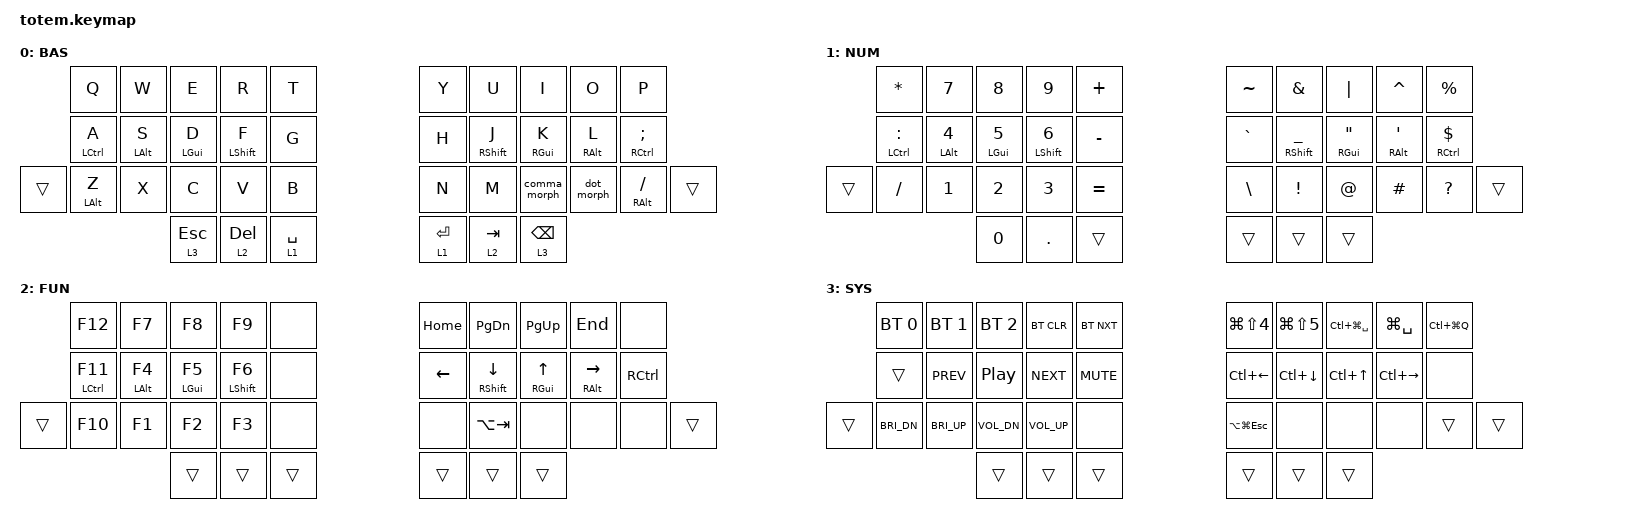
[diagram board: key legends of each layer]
/*
 * Copyright (c) 2020 The ZMK Contributors
 *
 * SPDX-License-Identifier: MIT
 */

#include <dt-bindings/zmk/reset.h>

#define ZMK_POINTING_DEFAULT_SCRL_VAL 20    // default: 10

#include <behaviors.dtsi>
#include <dt-bindings/zmk/bt.h>
#include <dt-bindings/zmk/keys.h>

/ {
    behaviors {
        // timeless home-row mods (urob): hold only when the next key is on the other hand

        hml: hml {
            compatible = "zmk,behavior-hold-tap";
            #binding-cells = <2>;
            flavor = "balanced";
            tapping-term-ms = <170>;
            quick-tap-ms = <175>;
            require-prior-idle-ms = <150>;
            bindings = <&kp>, <&kp>;

            hold-trigger-key-positions = <5 6 7 8 9 15 16 17 18 19 26 27 28 29 30 31 32 33 34 35 36 37>;
            hold-trigger-on-release;
        };

        hmr: hmr {
            compatible = "zmk,behavior-hold-tap";
            #binding-cells = <2>;
            flavor = "balanced";
            tapping-term-ms = <170>;
            quick-tap-ms = <175>;
            require-prior-idle-ms = <150>;
            bindings = <&kp>, <&kp>;

            hold-trigger-key-positions = <0 1 2 3 4 10 11 12 13 14 20 21 22 23 24 25 32 33 34 35 36 37>;
            hold-trigger-on-release;
        };

        // tap: (   shift+tap: <

        lpar_lt: lpar_lt {
            compatible = "zmk,behavior-mod-morph";
            #binding-cells = <0>;
            bindings = <&kp LPAR>, <&kp LT>;

            mods = <(MOD_LSFT|MOD_RSFT)>;
        };

        // tap: )   shift+tap: >

        rpar_gt: rpar_gt {
            compatible = "zmk,behavior-mod-morph";
            #binding-cells = <0>;
            bindings = <&kp RPAR>, <&kp GT>;

            mods = <(MOD_LSFT|MOD_RSFT)>;
        };

        // tap: ,   shift+tap: ;

        comma_morph: comma_morph {
            compatible = "zmk,behavior-mod-morph";
            #binding-cells = <0>;
            bindings = <&kp COMMA>, <&kp SEMICOLON>;

            mods = <(MOD_LSFT|MOD_RSFT)>;
        };

        // tap: .   shift+tap: :

        dot_morph: dot_morph {
            compatible = "zmk,behavior-mod-morph";
            #binding-cells = <0>;
            bindings = <&kp DOT>, <&kp COLON>;

            mods = <(MOD_LSFT|MOD_RSFT)>;
        };
    };

    combos {
        compatible = "zmk,combos";

        escape {
            bindings = <&kp ESCAPE>;
            key-positions = <3 4>;
        };

        caps {
            bindings = <&caps_word>;
            key-positions = <14 15>;
        };

        apostroph {
            bindings = <&kp APOSTROPHE>;
            key-positions = <5 6>;
        };

        wispr {
            bindings = <&wispr>;
            key-positions = <9 6>;
        };

        copy {
            bindings = <&copy>;
            key-positions = <22 23>;
        };

        paste {
            bindings = <&paste>;
            key-positions = <23 24>;
        };

        left_bracket {
            bindings = <&kp LEFT_BRACKET>;
            key-positions = <27 28>;
        };

        right_bracket {
            bindings = <&kp RIGHT_BRACKET>;
            key-positions = <28 29>;
        };

        l_parenthesis {
            bindings = <&lpar_lt>;
            key-positions = <16 17>;
        };

        r_parenthesis {
            bindings = <&rpar_gt>;
            key-positions = <17 18>;
        };

        tab {
            bindings = <&kp TAB>;
            key-positions = <11 12>;
        };

        backspace {
            bindings = <&kp BACKSPACE>;
            key-positions = <26 27>;
        };

        delete {
            bindings = <&kp DELETE>;
            key-positions = <15 16>;
        };

        cut {
            bindings = <&cut>;
            key-positions = <24 22>;
        };

        undo {
            bindings = <&undo>;
            key-positions = <22 21>;
        };

        // both NUM thumbs together: toggle NUM on/off

        num_toggle {
            bindings = <&tog 1>;
            key-positions = <34 35>;
        };

        redo {
            bindings = <&redo>;
            key-positions = <24 25>;
        };

        enter {
            bindings = <&kp ENTER>;
            key-positions = <13 14>;
        };
    };

    macros {
        wispr: wispr {
            compatible = "zmk,behavior-macro";
            #binding-cells = <0>;
            bindings = <&kp LS(LA(NUMBER_1))>;
            label = "WISPR";
        };

        undo: undo {
            compatible = "zmk,behavior-macro";
            #binding-cells = <0>;
            bindings = <&none &kp LG(Z)>;
            label = "UNDO";
        };

        cut: cut {
            compatible = "zmk,behavior-macro";
            #binding-cells = <0>;
            bindings = <&none &kp LG(X)>;
            label = "CUT";
        };

        redo: redo {
            compatible = "zmk,behavior-macro";
            #binding-cells = <0>;
            bindings = <&none &kp LG(LS(Z))>;
            label = "REDO";
        };

        copy: copy {
            compatible = "zmk,behavior-macro";
            #binding-cells = <0>;
            bindings = <&none &kp LG(C)>;
            label = "COPY";
        };

        paste: paste {
            compatible = "zmk,behavior-macro";
            #binding-cells = <0>;
            bindings = <&none &kp LG(V)>;
            label = "PASTE";
        };
    };

    keymap {
        compatible = "zmk,keymap";

        default_layer {
            display-name = "BAS";

            // -----------------------------------------------------------------------------------------
            // |  TAB |  Q  |  W  |  E  |  R  |  T  |   |  Y  |  U   |  I  |  O  |  P  | BKSP |
            // | CTRL |  A  |  S  |  D  |  F  |  G  |   |  H  |  J   |  K  |  L  |  ;  |  '   |
            // | SHFT |  Z  |  X  |  C  |  V  |  B  |   |  N  |  M   |  ,  |  .  |  /  | ESC  |
            //                    | GUI | LWR | SPC |   | ENT | RSE  | ALT |

            bindings = <
        &kp Q         &kp W        &kp E         &kp R          &kp T          &kp Y        &kp U          &kp I            &kp O        &kp P
        &hml LCTRL A  &hml LALT S  &hml LGUI D   &hml LSHIFT F  &kp G          &kp H        &hmr RSHIFT J  &hmr RGUI K      &hmr RALT L  &hmr RCTRL SEMI
&trans  &hml LALT Z   &kp X        &kp C         &kp V          &kp B          &kp N        &kp M          &comma_morph     &dot_morph   &hmr RALT FSLH   &trans
                                   &lt 3 ESCAPE  &lt 2 DELETE   &lt 1 SPACE    &lt 1 ENTER  &lt 2 TAB      &lt 3 BACKSPACE
            >;
        };

        NUM {
            display-name = "NUM";

            // -----------------------------------------------------------------------------------------
            // |  TAB |  1  |  2  |  3  |  4  |  5  |   |  6  |  7  |  8  |  9  |  0  | BKSP |
            // | BTCLR| BT1 | BT2 | BT3 | BT4 | BT5 |   | LFT | DWN |  UP | RGT |     |      |
            // | SHFT |     |     |     |     |     |   |     |     |     |     |     |      |
            //                    | GUI |     | SPC |   | ENT |     | ALT |

            bindings = <
        &kp ASTERISK      &kp NUMBER_7        &kp NUMBER_8        &kp NUMBER_9         &kp PLUS     &kp TILDE  &kp AMPERSAND           &kp PIPE                 &kp CARET      &kp PERCENT
        &hml LCTRL COLON  &hml LALT NUMBER_4  &hml LGUI NUMBER_5  &hml LSHFT NUMBER_6  &kp MINUS    &kp GRAVE  &hmr RSHIFT UNDERSCORE  &hmr RGUI DOUBLE_QUOTES  &hmr RALT SQT  &hmr RCTRL DOLLAR
&trans  &kp SLASH         &kp NUMBER_1        &kp NUMBER_2        &kp NUMBER_3         &kp EQUAL    &kp BSLH   &kp EXCLAMATION         &kp AT_SIGN              &kp HASH       &kp QUESTION       &trans
                                              &kp NUMBER_0        &kp DOT              &trans       &trans     &trans                  &trans
            >;
        };

        FUN {
            display-name = "FUN";

            // -----------------------------------------------------------------------------------------
            // |  TAB |  !  |  @  |  #  |  $  |  %  |   |  ^  |  &  |  *  |  (  |  )  | BKSP |
            // | CTRL |     |     |     |     |     |   |  -  |  =  |  [  |  ]  |  \  |  `   |
            // | SHFT |     |     |     |     |     |   |  _  |  +  |  {  |  }  | "|" |  ~   |
            //                    | GUI |     | SPC |   | ENT |     | ALT |

            bindings = <
        &kp F12         &kp F7        &kp F8        &kp F9          &none     &kp HOME  &kp PAGE_DOWN     &kp PAGE_UP   &kp END          &none
        &hml LCTRL F11  &hml LALT F4  &hml LGUI F5  &hml LSHIFT F6  &none     &kp LEFT  &hmr RSHIFT DOWN  &hmr RGUI UP  &hmr RALT RIGHT  &kp RCTRL
&trans  &kp F10         &kp F1        &kp F2        &kp F3          &none     &none     &kp LA(TAB)       &none         &none            &none      &trans
                                      &trans        &trans          &trans    &trans    &trans            &trans
            >;
        };

        SYS {
            bindings = <
        &bt BT_SEL 0  &bt BT_SEL 1  &bt BT_SEL 2      &bt BT_CLR    &bt BT_NXT    &kp LG(LS(N4))   &kp LG(LS(N5))  &kp LC(LG(SPACE))  &kp LG(SPACE)  &kp LC(LG(Q))
        &trans        &kp C_PREV    &kp C_PLAY_PAUSE  &kp C_NEXT    &kp K_MUTE    &kp LC(LEFT)     &kp LC(DOWN)    &kp LC(UP)         &kp LC(RIGHT)  &none
&trans  &kp C_BRI_DN  &kp C_BRI_UP  &kp C_VOL_DN      &kp C_VOL_UP  &none         &kp LA(LG(ESC))  &none           &none              &none          &trans         &trans
                                    &trans            &trans        &trans        &trans           &trans          &trans
            >;

            label = "SYS";
        };
    };

    conditional_layers { compatible = "zmk,conditional-layers"; };
};
